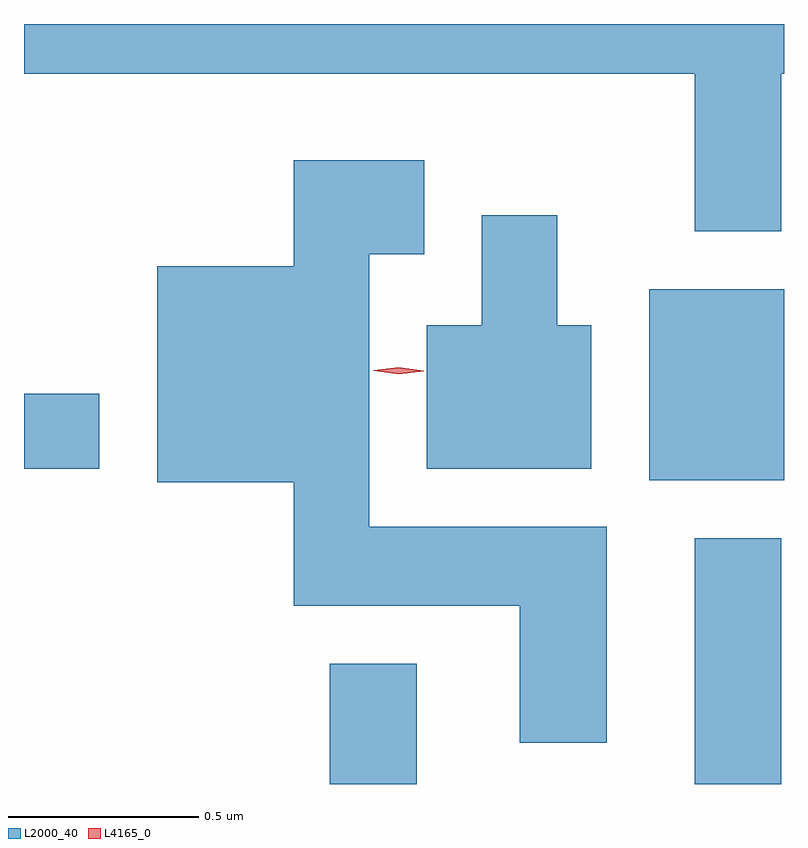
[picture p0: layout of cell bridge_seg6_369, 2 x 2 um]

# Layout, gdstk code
import gdstk
lib = gdstk.Library(unit=1e-6, precision=1e-09)
def R(c, l, rs):  # rectangles x0, y0, x1, y1
    for r in rs: c.add(gdstk.rectangle(r[:2], r[2:], *l))
def P(c, l, *ps):  # polygons
    for p in ps: c.add(gdstk.Polygon(p, *l))
L2000_40 = (2000, 40)
L4165_0 = (4165, 0)

bridge_seg6_369 = lib.new_cell('bridge_seg6_369')
R(bridge_seg6_369, L2000_40, [(1266.561,1559.267,1266.789,1559.584), (1267.521,1559.267,1267.749,1559.914), (1267.401,1560.066,1267.756,1560.569), (1265.756,1560.096,1265.954,1560.294)])
P(bridge_seg6_369, L2000_40, [(1267.749,1561.136),(1267.756,1561.136),(1267.756,1561.267),(1265.756,1561.267),(1265.756,1561.136),(1267.521,1561.136),(1267.521,1560.721),(1267.749,1560.721)],
  [(1267.289,1559.944),(1266.664,1559.944),(1266.664,1560.661),(1266.809,1560.661),(1266.809,1560.909),(1266.466,1560.909),(1266.466,1560.629),(1266.106,1560.629),(1266.106,1560.061),(1266.466,1560.061),(1266.466,1559.736),(1267.061,1559.736),(1267.061,1559.376),(1267.289,1559.376)],
  [(1267.249,1560.474),(1267.159,1560.474),(1267.159,1560.764),(1266.961,1560.764),(1266.961,1560.474),(1266.816,1560.474),(1266.816,1560.096),(1267.249,1560.096)])
P(bridge_seg6_369, L4165_0, [(1266.742,1560.345),(1266.676,1560.355),(1266.676,1560.356),(1266.676,1560.356),(1266.742,1560.364),(1266.808,1560.354),(1266.808,1560.353),(1266.808,1560.353)])

lib.write_gds('bridge_seg6_369.gds')
